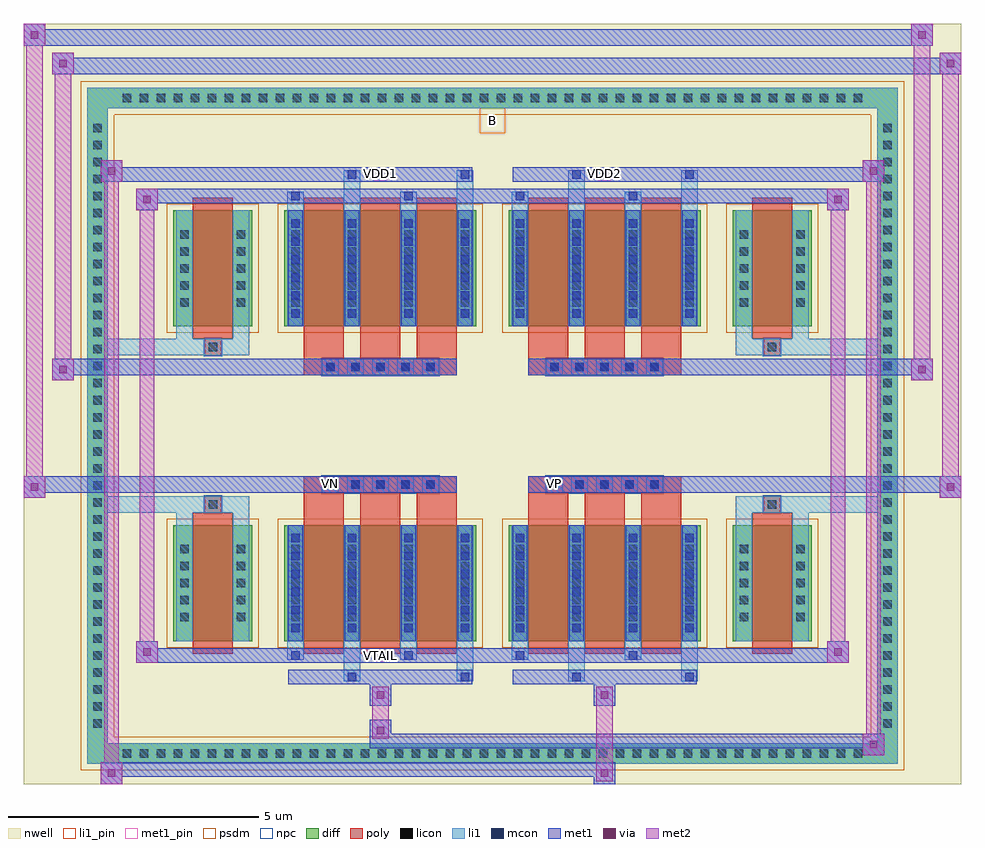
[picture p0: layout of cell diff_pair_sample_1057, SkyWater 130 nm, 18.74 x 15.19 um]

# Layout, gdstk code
import gdstk
lib = gdstk.Library(unit=1e-6, precision=5e-09)
def R(c, l, rs):  # rectangles x0, y0, x1, y1
    for r in rs: c.add(gdstk.rectangle(r[:2], r[2:], *l))
def A(c, l, x, y, w, h, nx, ny, dx, dy):  # array of equal rectangles
    R(c, l, [(x+i*dx, y+j*dy, x+i*dx+w, y+j*dy+h) for i in range(nx) for j in range(ny)])
def P(c, l, *ps):  # polygons
    for p in ps: c.add(gdstk.Polygon(p, *l))
nwell = (64, 20)
diff = (65, 20)
poly = (66, 20)
licon = (66, 44)
li1_pin = (67, 16)
li1 = (67, 20)
mcon = (67, 44)
met1_pin = (68, 16)
met1 = (68, 20)
via = (68, 44)
met2 = (69, 20)
psdm = (94, 20)
npc = (95, 20)

diff_pair_sample_1057 = lib.new_cell('diff_pair_sample_1057')
R(diff_pair_sample_1057, nwell, [(-9.37,-7.16,9.37,8.03), (-6.69,-5.35,-0.01,-0.805), (0.01,-5.35,6.69,-0.805), (-6.69,0.805,-0.01,5.35), (0.01,0.805,6.69,5.35)])
A(diff_pair_sample_1057, diff, -7.515, -6.76, 0.41, 0.41, 44, 2, 0.34, 13.11)
A(diff_pair_sample_1057, diff, -8.1, -6.155, 0.41, 0.41, 1, 36, 0, 0.34)
A(diff_pair_sample_1057, diff, 7.69, -6.155, 0.41, 0.41, 1, 36, 0, 0.34)
R(diff_pair_sample_1057, diff, [(-7.515,-6.76,7.515,-6.35), (-8.1,-6.155,-7.69,6.155), (7.69,-6.155,8.1,6.155), (-6.38,-4.305,-4.8,-1.985), (-4.16,-4.305,-0.32,-1.985), (0.32,-4.305,4.16,-1.985), (4.8,-4.305,6.38,-1.985), (-6.38,1.985,-4.8,4.305), (-4.16,1.985,-0.32,4.305), (0.32,1.985,4.16,4.305), (4.8,1.985,6.38,4.305), (-7.515,6.35,7.515,6.76)])
P(diff_pair_sample_1057, diff, [(8.1,6.76),(-8.1,6.76),(-8.1,-6.35),(-7.69,-6.35),(-7.69,6.35),(7.69,6.35),(7.69,-6.35),(-7.69,-6.35),(-8.1,-6.35),(-8.1,-6.76),(8.1,-6.76)])
A(diff_pair_sample_1057, poly, -3.77, -4.555, 0.8, 2.82, 3, 2, 1.13, 6.29)
A(diff_pair_sample_1057, poly, 0.71, -4.555, 0.8, 2.82, 3, 2, 1.13, 6.29)
A(diff_pair_sample_1057, poly, -3.77, -1.735, 0.8, 0.4, 3, 2, 1.13, 3.07)
A(diff_pair_sample_1057, poly, 0.71, -1.735, 0.8, 0.4, 3, 2, 1.13, 3.07)
A(diff_pair_sample_1057, poly, -3.405, -1.335, 0.33, 0.33, 5, 2, 0.5, 2.34)
A(diff_pair_sample_1057, poly, 1.075, -1.335, 0.33, 0.33, 5, 2, 0.5, 2.34)
R(diff_pair_sample_1057, poly, [(-5.99,-4.555,-5.19,-1.735), (5.19,-4.555,5.99,-1.735), (-5.755,-1.735,-5.425,-1.405), (-5.755,-1.735,-5.425,-1.405), (5.425,-1.735,5.755,-1.405), (5.425,-1.735,5.755,-1.405), (-3.77,-1.335,-0.71,-1.005), (0.71,-1.335,3.77,-1.005), (-3.77,1.005,-0.71,1.335), (0.71,1.005,3.77,1.335), (-5.755,1.405,-5.425,1.735), (-5.755,1.405,-5.425,1.735), (5.425,1.405,5.755,1.735), (5.425,1.405,5.755,1.735), (-5.99,1.735,-5.19,4.555), (5.19,1.735,5.99,4.555)])
A(diff_pair_sample_1057, licon, -7.395, -6.64, 0.17, 0.17, 44, 2, 0.34, 13.11)
A(diff_pair_sample_1057, licon, -7.98, -6.035, 0.17, 0.17, 1, 36, 0, 0.34)
A(diff_pair_sample_1057, licon, 7.81, -6.035, 0.17, 0.17, 1, 36, 0, 0.34)
A(diff_pair_sample_1057, licon, -6.24, -3.91, 0.17, 0.17, 1, 5, 0, 0.34)
A(diff_pair_sample_1057, licon, -5.11, -3.91, 0.17, 0.17, 1, 5, 0, 0.34)
A(diff_pair_sample_1057, licon, -4.02, -3.91, 0.17, 0.17, 4, 5, 1.13, 0.34)
A(diff_pair_sample_1057, licon, 0.46, -3.91, 0.17, 0.17, 4, 5, 1.13, 0.34)
A(diff_pair_sample_1057, licon, 4.94, -3.91, 0.17, 0.17, 1, 5, 0, 0.34)
A(diff_pair_sample_1057, licon, 6.07, -3.91, 0.17, 0.17, 1, 5, 0, 0.34)
A(diff_pair_sample_1057, licon, -3.325, -1.255, 0.17, 0.17, 5, 2, 0.5, 2.34)
A(diff_pair_sample_1057, licon, 1.155, -1.255, 0.17, 0.17, 5, 2, 0.5, 2.34)
A(diff_pair_sample_1057, licon, -6.24, 2.38, 0.17, 0.17, 1, 5, 0, 0.34)
A(diff_pair_sample_1057, licon, -5.11, 2.38, 0.17, 0.17, 1, 5, 0, 0.34)
A(diff_pair_sample_1057, licon, -4.02, 2.38, 0.17, 0.17, 4, 5, 1.13, 0.34)
A(diff_pair_sample_1057, licon, 0.46, 2.38, 0.17, 0.17, 4, 5, 1.13, 0.34)
A(diff_pair_sample_1057, licon, 4.94, 2.38, 0.17, 0.17, 1, 5, 0, 0.34)
A(diff_pair_sample_1057, licon, 6.07, 2.38, 0.17, 0.17, 1, 5, 0, 0.34)
R(diff_pair_sample_1057, licon, [(-5.675,-1.655,-5.505,-1.485), (5.505,-1.655,5.675,-1.485), (-5.675,1.485,-5.505,1.655), (5.505,1.485,5.675,1.655)])
R(diff_pair_sample_1057, li1_pin, [(-0.25,5.85,0.25,6.35)])
A(diff_pair_sample_1057, li1, -7.475, -6.72, 0.33, 0.33, 44, 2, 0.34, 13.11)
A(diff_pair_sample_1057, li1, -8.06, -6.115, 0.33, 0.33, 1, 36, 0, 0.34)
A(diff_pair_sample_1057, li1, 7.73, -6.115, 0.33, 0.33, 1, 36, 0, 0.34)
A(diff_pair_sample_1057, li1, -4.1, -4.305, 0.33, 2.32, 4, 2, 1.13, 6.29)
A(diff_pair_sample_1057, li1, 0.38, -4.305, 0.33, 2.32, 4, 2, 1.13, 6.29)
A(diff_pair_sample_1057, li1, -4.02, -4.13, 0.17, 0.17, 4, 6, 1.13, 0.36)
A(diff_pair_sample_1057, li1, -4.02, -4.13, 0.17, 1.97, 4, 2, 1.13, 6.29)
A(diff_pair_sample_1057, li1, 0.46, -4.13, 0.17, 0.17, 4, 6, 1.13, 0.36)
A(diff_pair_sample_1057, li1, 0.46, -4.13, 0.17, 1.97, 4, 2, 1.13, 6.29)
A(diff_pair_sample_1057, li1, -6.32, -3.99, 0.33, 0.33, 1, 5, 0, 0.34)
A(diff_pair_sample_1057, li1, -5.19, -3.99, 0.33, 0.33, 1, 5, 0, 0.34)
A(diff_pair_sample_1057, li1, -4.1, -3.99, 0.33, 0.33, 4, 5, 1.13, 0.34)
A(diff_pair_sample_1057, li1, 0.38, -3.99, 0.33, 0.33, 4, 5, 1.13, 0.34)
A(diff_pair_sample_1057, li1, 4.86, -3.99, 0.33, 0.33, 1, 5, 0, 0.34)
A(diff_pair_sample_1057, li1, 5.99, -3.99, 0.33, 0.33, 1, 5, 0, 0.34)
A(diff_pair_sample_1057, li1, -3.405, -1.335, 0.33, 0.33, 5, 2, 0.5, 2.34)
A(diff_pair_sample_1057, li1, 1.075, -1.335, 0.33, 0.33, 5, 2, 0.5, 2.34)
A(diff_pair_sample_1057, li1, -4.02, 2.16, 0.17, 0.17, 4, 6, 1.13, 0.36)
A(diff_pair_sample_1057, li1, 0.46, 2.16, 0.17, 0.17, 4, 6, 1.13, 0.36)
A(diff_pair_sample_1057, li1, -6.32, 2.3, 0.33, 0.33, 1, 5, 0, 0.34)
A(diff_pair_sample_1057, li1, -5.19, 2.3, 0.33, 0.33, 1, 5, 0, 0.34)
A(diff_pair_sample_1057, li1, -4.1, 2.3, 0.33, 0.33, 4, 5, 1.13, 0.34)
A(diff_pair_sample_1057, li1, 0.38, 2.3, 0.33, 0.33, 4, 5, 1.13, 0.34)
A(diff_pair_sample_1057, li1, 4.86, 2.3, 0.33, 0.33, 1, 5, 0, 0.34)
A(diff_pair_sample_1057, li1, 5.99, 2.3, 0.33, 0.33, 1, 5, 0, 0.34)
R(diff_pair_sample_1057, li1, [(-8.1,-6.76,-7.69,-6.35), (-8.1,-6.76,-7.69,-6.35), (-7.69,-6.76,7.69,-6.35), (7.69,-6.76,8.1,-6.35), (7.69,-6.76,8.1,-6.35), (-8.1,-6.35,-7.69,6.35), (7.69,-6.35,8.1,6.35), (-2.97,-5.11,-2.64,-4.305), (-2.89,-5.11,-2.72,-4.94), (-0.71,-5.11,-0.38,-4.305), (-0.63,-5.11,-0.46,-4.94), (1.51,-5.11,1.84,-4.305), (1.59,-5.11,1.76,-4.94), (3.77,-5.11,4.1,-4.305), (3.85,-5.11,4.02,-4.94), (-4.1,-4.68,-3.77,-4.305), (-4.02,-4.68,-3.85,-4.51), (-1.84,-4.68,-1.51,-4.305), (-1.76,-4.68,-1.59,-4.51), (0.38,-4.68,0.71,-4.305), (0.46,-4.68,0.63,-4.51), (2.64,-4.68,2.97,-4.305), (2.72,-4.68,2.89,-4.51), (-6.32,-4.305,-5.99,-1.985), (-5.19,-4.305,-4.86,-1.985), (4.86,-4.305,5.19,-1.985), (5.99,-4.305,6.32,-1.985), (-6.32,-1.985,-5.99,-1.405), (-5.19,-1.985,-4.86,-1.405), (4.86,-1.985,5.19,-1.405), (5.99,-1.985,6.32,-1.405), (-8.1,-1.735,-5.755,-1.405), (-6.32,-1.735,-5.755,-1.405), (-5.755,-1.735,-5.425,-1.405), (-5.425,-1.735,-4.86,-1.405), (4.86,-1.735,5.425,-1.405), (5.425,-1.735,5.755,-1.405), (5.425,-1.735,8.1,-1.405), (5.755,-1.735,6.32,-1.405), (-8.1,1.405,-5.755,1.735), (-6.32,1.405,-5.755,1.735), (-6.32,1.405,-5.99,1.985), (-5.755,1.405,-5.425,1.735), (-5.425,1.405,-4.86,1.735), (-5.19,1.405,-4.86,1.985), (4.86,1.405,5.425,1.735), (4.86,1.405,5.19,1.985), (5.425,1.405,5.755,1.735), (5.425,1.405,8.1,1.735), (5.755,1.405,6.32,1.735), (5.99,1.405,6.32,1.985), (-6.32,1.985,-5.99,4.305), (-5.19,1.985,-4.86,4.305), (4.86,1.985,5.19,4.305), (5.99,1.985,6.32,4.305), (-4.1,4.305,-3.77,4.68), (-2.97,4.305,-2.64,5.11), (-1.84,4.305,-1.51,4.68), (-0.71,4.305,-0.38,5.11), (0.38,4.305,0.71,4.68), (1.51,4.305,1.84,5.11), (2.64,4.305,2.97,4.68), (3.77,4.305,4.1,5.11), (-4.02,4.51,-3.85,4.68), (-1.76,4.51,-1.59,4.68), (0.46,4.51,0.63,4.68), (2.72,4.51,2.89,4.68), (-2.89,4.94,-2.72,5.11), (-0.63,4.94,-0.46,5.11), (1.59,4.94,1.76,5.11), (3.85,4.94,4.02,5.11), (-8.1,6.35,-7.69,6.76), (-8.1,6.35,-7.69,6.76), (-7.69,6.35,7.69,6.76), (7.69,6.35,8.1,6.76), (7.69,6.35,8.1,6.76)])
A(diff_pair_sample_1057, mcon, -4.02, -4.13, 0.17, 0.17, 4, 6, 1.13, 0.36)
A(diff_pair_sample_1057, mcon, 0.46, -4.13, 0.17, 0.17, 4, 6, 1.13, 0.36)
A(diff_pair_sample_1057, mcon, -3.325, -1.255, 0.17, 0.17, 5, 2, 0.5, 2.34)
A(diff_pair_sample_1057, mcon, 1.155, -1.255, 0.17, 0.17, 5, 2, 0.5, 2.34)
A(diff_pair_sample_1057, mcon, -4.02, 2.16, 0.17, 0.17, 4, 6, 1.13, 0.36)
A(diff_pair_sample_1057, mcon, 0.46, 2.16, 0.17, 0.17, 4, 6, 1.13, 0.36)
R(diff_pair_sample_1057, mcon, [(-2.89,-5.11,-2.72,-4.94), (-0.63,-5.11,-0.46,-4.94), (1.59,-5.11,1.76,-4.94), (3.85,-5.11,4.02,-4.94), (-4.02,-4.68,-3.85,-4.51), (-1.76,-4.68,-1.59,-4.51), (0.46,-4.68,0.63,-4.51), (2.72,-4.68,2.89,-4.51), (-4.02,4.51,-3.85,4.68), (-1.76,4.51,-1.59,4.68), (0.46,4.51,0.63,4.68), (2.72,4.51,2.89,4.68), (-2.89,4.94,-2.72,5.11), (-0.63,4.94,-0.46,5.11), (1.59,4.94,1.76,5.11), (3.85,4.94,4.02,5.11)])
R(diff_pair_sample_1057, met1_pin, [(-2.375,-4.72,-2.105,-4.45), (-3.375,-1.295,-3.105,-1.025), (1.105,-1.295,1.375,-1.025), (-2.375,4.9,-2.105,5.17), (2.105,4.9,2.375,5.17)])
A(diff_pair_sample_1057, met1, -4.08, -4.305, 0.29, 2.32, 4, 2, 1.13, 6.29)
A(diff_pair_sample_1057, met1, 0.4, -4.305, 0.29, 2.32, 4, 2, 1.13, 6.29)
A(diff_pair_sample_1057, met1, -4.08, -4.19, 0.29, 0.29, 4, 6, 1.13, 0.36)
A(diff_pair_sample_1057, met1, 0.4, -4.19, 0.29, 0.29, 4, 6, 1.13, 0.36)
A(diff_pair_sample_1057, met1, -3.385, -1.315, 0.29, 0.29, 5, 2, 0.5, 2.34)
A(diff_pair_sample_1057, met1, 1.095, -1.315, 0.29, 0.29, 5, 2, 0.5, 2.34)
A(diff_pair_sample_1057, met1, -4.08, 2.1, 0.29, 0.29, 4, 6, 1.13, 0.36)
A(diff_pair_sample_1057, met1, 0.4, 2.1, 0.29, 0.29, 4, 6, 1.13, 0.36)
R(diff_pair_sample_1057, met1, [(-7.83,-7.16,-7.4,-6.73), (2.025,-7.16,2.455,-6.73), (-7.83,-7.02,2.455,-6.73), (7.4,-6.59,7.83,-6.16), (-2.455,-6.45,7.83,-6.16), (-2.455,-6.31,-2.025,-5.88), (-2.455,-5.6,-2.025,-5.17), (2.025,-5.6,2.455,-5.17), (-4.08,-5.17,-0.4,-4.88), (-2.95,-5.17,-2.66,-4.88), (-0.69,-5.17,-0.4,-4.88), (0.4,-5.17,4.08,-4.88), (1.53,-5.17,1.82,-4.88), (3.79,-5.17,4.08,-4.88), (-7.12,-4.74,-6.69,-4.31), (-7.12,-4.74,-4.08,-4.45), (-4.08,-4.74,-3.79,-4.45), (-4.08,-4.74,-0.4,-4.45), (-1.82,-4.74,-1.53,-4.45), (-0.4,-4.74,0.4,-4.45), (0.4,-4.74,0.69,-4.45), (0.4,-4.74,4.08,-4.45), (2.66,-4.74,2.95,-4.45), (4.08,-4.74,7.12,-4.45), (6.69,-4.74,7.12,-4.31), (-9.37,-1.435,-8.94,-1.005), (8.94,-1.435,9.37,-1.005), (-9.37,-1.335,-0.71,-1.005), (-3.77,-1.335,-0.71,-1.005), (0.71,-1.335,3.77,-1.005), (0.71,-1.335,9.37,-1.005), (-8.8,0.905,-8.37,1.335), (8.37,0.905,8.8,1.335), (-8.8,1.005,-3.77,1.335), (-3.77,1.005,-0.71,1.335), (0.71,1.005,3.77,1.335), (3.77,1.005,8.8,1.335), (-7.12,4.31,-6.69,4.74), (6.69,4.31,7.12,4.74), (-7.12,4.45,-4.08,4.74), (-4.08,4.45,-3.79,4.74), (-4.08,4.45,-0.4,4.74), (-1.82,4.45,-1.53,4.74), (-0.4,4.45,0.4,4.74), (0.4,4.45,0.69,4.74), (0.4,4.45,4.08,4.74), (2.66,4.45,2.95,4.74), (4.08,4.45,7.12,4.74), (-7.83,4.88,-7.4,5.31), (-7.83,4.88,-4.08,5.17), (-4.08,4.88,-0.4,5.17), (-2.95,4.88,-2.66,5.17), (-0.69,4.88,-0.4,5.17), (0.4,4.88,4.08,5.17), (1.53,4.88,1.82,5.17), (3.79,4.88,4.08,5.17), (4.08,4.88,7.83,5.17), (7.4,4.88,7.83,5.31), (-8.8,7.03,-8.37,7.46), (-8.8,7.03,-6.69,7.36), (-6.69,7.03,6.69,7.36), (6.69,7.03,9.37,7.36), (8.94,7.03,9.37,7.46), (-9.37,7.6,-8.94,8.03), (-9.37,7.6,-6.69,7.93), (-6.69,7.6,6.69,7.93), (6.69,7.6,8.8,7.93), (8.37,7.6,8.8,8.03)])
R(diff_pair_sample_1057, via, [(-7.69,-7.02,-7.54,-6.87), (2.165,-7.02,2.315,-6.87), (7.54,-6.45,7.69,-6.3), (-2.315,-6.17,-2.165,-6.02), (-2.315,-5.46,-2.165,-5.31), (2.165,-5.46,2.315,-5.31), (-6.98,-4.6,-6.83,-4.45), (6.83,-4.6,6.98,-4.45), (-9.23,-1.295,-9.08,-1.145), (9.08,-1.295,9.23,-1.145), (-8.66,1.045,-8.51,1.195), (8.51,1.045,8.66,1.195), (-6.98,4.45,-6.83,4.6), (6.83,4.45,6.98,4.6), (-7.69,5.02,-7.54,5.17), (7.54,5.02,7.69,5.17), (-8.66,7.17,-8.51,7.32), (9.08,7.17,9.23,7.32), (-9.23,7.74,-9.08,7.89), (8.51,7.74,8.66,7.89)])
R(diff_pair_sample_1057, met2, [(-7.83,-7.16,-7.4,-6.73), (-7.76,-7.16,-7.47,5.31), (-7.47,-7.16,-7.4,-6.73), (-7.78,-7.11,-7.45,-6.78), (2.075,-7.11,2.405,-6.78), (2.075,-6.78,2.405,-5.55), (7.4,-6.59,7.83,-6.16), (7.47,-6.59,7.76,5.31), (7.76,-6.59,7.83,-6.16), (7.45,-6.54,7.78,-6.21), (-2.405,-6.26,-2.075,-5.93), (-2.405,-5.93,-2.075,-5.55), (-2.405,-5.55,-2.075,-5.22), (2.075,-5.55,2.405,-5.22), (-7.12,-4.74,-6.69,-4.31), (-7.05,-4.74,-6.76,4.74), (-6.76,-4.74,-6.69,-4.31), (6.69,-4.74,7.12,-4.31), (6.76,-4.74,7.05,4.74), (7.05,-4.74,7.12,-4.31), (-7.07,-4.69,-6.74,-4.36), (6.74,-4.69,7.07,-4.36), (-9.37,-1.435,-8.94,-1.005), (-9.32,-1.435,-8.99,8.03), (-8.99,-1.435,-8.94,-1.005), (8.94,-1.435,9.37,-1.005), (8.99,-1.435,9.32,7.46), (9.32,-1.435,9.37,-1.005), (-9.32,-1.385,-8.99,-1.055), (8.99,-1.385,9.32,-1.055), (-8.8,0.905,-8.37,1.335), (-8.75,0.905,-8.42,7.46), (-8.42,0.905,-8.37,1.335), (8.37,0.905,8.8,1.335), (8.42,0.905,8.75,8.03), (8.75,0.905,8.8,1.335), (-8.75,0.955,-8.42,1.285), (8.42,0.955,8.75,1.285), (-7.12,4.31,-6.69,4.74), (-6.76,4.31,-6.69,4.74), (6.69,4.31,7.12,4.74), (7.05,4.31,7.12,4.74), (-7.07,4.36,-6.74,4.69), (6.74,4.36,7.07,4.69), (-7.83,4.88,-7.4,5.31), (-7.47,4.88,-7.4,5.31), (7.4,4.88,7.83,5.31), (7.76,4.88,7.83,5.31), (-7.78,4.93,-7.45,5.26), (7.45,4.93,7.78,5.26), (-8.8,7.03,-8.37,7.46), (-8.42,7.03,-8.37,7.46), (8.94,7.03,9.37,7.46), (9.32,7.03,9.37,7.46), (-8.75,7.08,-8.42,7.41), (8.99,7.08,9.32,7.41), (-9.37,7.6,-8.94,8.03), (-8.99,7.6,-8.94,8.03), (8.37,7.6,8.8,8.03), (8.75,7.6,8.8,8.03), (-9.32,7.65,-8.99,7.98), (8.42,7.65,8.75,7.98)])
R(diff_pair_sample_1057, psdm, [(-6.51,-4.435,-4.67,-1.855), (-4.29,-4.435,-0.19,-1.855), (0.19,-4.435,4.29,-1.855), (4.67,-4.435,6.51,-1.855), (-6.51,1.855,-4.67,4.435), (-4.29,1.855,-0.19,4.435), (0.19,1.855,4.29,4.435), (4.67,1.855,6.51,4.435)])
P(diff_pair_sample_1057, psdm, [(8.23,6.89),(-8.23,6.89),(-8.23,-6.22),(-7.56,-6.22),(-7.56,6.22),(7.56,6.22),(7.56,-6.22),(-7.56,-6.22),(-8.23,-6.22),(-8.23,-6.89),(8.23,-6.89)])
A(diff_pair_sample_1057, npc, -3.425, -1.355, 0.37, 0.37, 5, 2, 0.5, 2.34)
A(diff_pair_sample_1057, npc, 1.055, -1.355, 0.37, 0.37, 5, 2, 0.5, 2.34)
R(diff_pair_sample_1057, npc, [(-5.775,-1.755,-5.405,-1.385), (5.405,-1.755,5.775,-1.385), (-3.425,-1.355,-2.555,-0.985), (-3.425,-1.355,-2.555,-0.985), (-2.925,-1.355,-2.055,-0.985), (-2.925,-1.355,-2.055,-0.985), (-2.425,-1.355,-1.555,-0.985), (-2.425,-1.355,-1.555,-0.985), (-1.925,-1.355,-1.055,-0.985), (-1.925,-1.355,-1.055,-0.985), (1.055,-1.355,1.925,-0.985), (1.055,-1.355,1.925,-0.985), (1.555,-1.355,2.425,-0.985), (1.555,-1.355,2.425,-0.985), (2.055,-1.355,2.925,-0.985), (2.055,-1.355,2.925,-0.985), (2.555,-1.355,3.425,-0.985), (2.555,-1.355,3.425,-0.985), (-3.425,0.985,-2.555,1.355), (-3.425,0.985,-2.555,1.355), (-2.925,0.985,-2.055,1.355), (-2.925,0.985,-2.055,1.355), (-2.425,0.985,-1.555,1.355), (-2.425,0.985,-1.555,1.355), (-1.925,0.985,-1.055,1.355), (-1.925,0.985,-1.055,1.355), (1.055,0.985,1.925,1.355), (1.055,0.985,1.925,1.355), (1.555,0.985,2.425,1.355), (1.555,0.985,2.425,1.355), (2.055,0.985,2.925,1.355), (2.055,0.985,2.925,1.355), (2.555,0.985,3.425,1.355), (2.555,0.985,3.425,1.355), (-5.775,1.385,-5.405,1.755), (5.405,1.385,5.775,1.755)])
diff_pair_sample_1057.add(gdstk.Label('VTAIL', (-2.24,-4.585), layer=68, texttype=5))
diff_pair_sample_1057.add(gdstk.Label('VN', (-3.24,-1.16), layer=68, texttype=5))
diff_pair_sample_1057.add(gdstk.Label('VP', (1.24,-1.16), layer=68, texttype=5))
diff_pair_sample_1057.add(gdstk.Label('B', (0,6.1), layer=67, texttype=5))
diff_pair_sample_1057.add(gdstk.Label('VDD2', (2.24,5.035), layer=68, texttype=5))
diff_pair_sample_1057.add(gdstk.Label('VDD1', (-2.24,5.035), layer=68, texttype=5))

lib.write_gds('diff_pair_sample_1057.gds')
